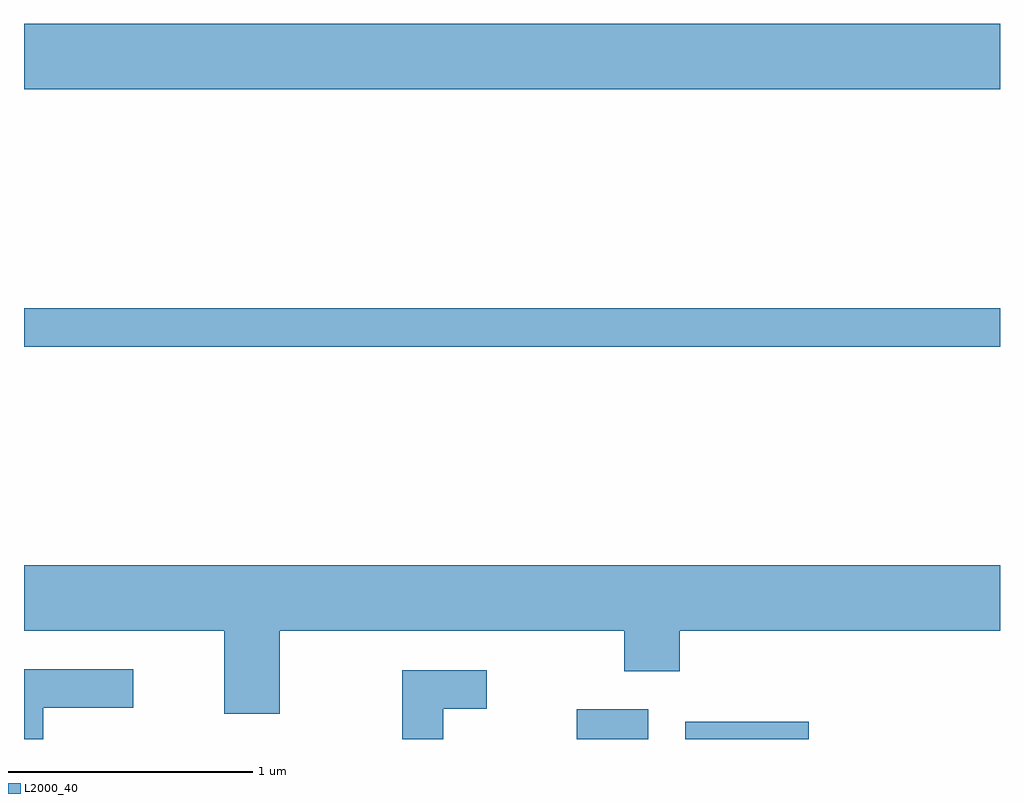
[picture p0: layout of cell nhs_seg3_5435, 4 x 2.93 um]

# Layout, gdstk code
import gdstk
lib = gdstk.Library(unit=1e-6, precision=1e-09)
def R(c, l, rs):  # rectangles x0, y0, x1, y1
    for r in rs: c.add(gdstk.rectangle(r[:2], r[2:], *l))
def P(c, l, *ps):  # polygons
    for p in ps: c.add(gdstk.Polygon(p, *l))
L2000_40 = (2000, 40)

nhs_seg3_5435 = lib.new_cell('nhs_seg3_5435')
R(nhs_seg3_5435, L2000_40, [(345.876,1249.892,346.169,1250.014), (346.321,1249.892,346.828,1249.964), (343.611,1251.501,347.611,1251.659), (343.611,1252.556,347.611,1252.824)])
P(nhs_seg3_5435, L2000_40, [(344.659,1250.336),(346.071,1250.336),(346.071,1250.171),(346.299,1250.171),(346.299,1250.336),(347.611,1250.336),(347.611,1250.604),(343.611,1250.604),(343.611,1250.336),(344.431,1250.336),(344.431,1249.996),(344.659,1249.996)],
  [(343.689,1250.021),(344.058,1250.021),(344.058,1250.179),(343.611,1250.179),(343.611,1249.892),(343.689,1249.892)],
  [(345.329,1250.016),(345.508,1250.016),(345.508,1250.174),(345.161,1250.174),(345.161,1249.892),(345.329,1249.892)])

lib.write_gds('nhs_seg3_5435.gds')
